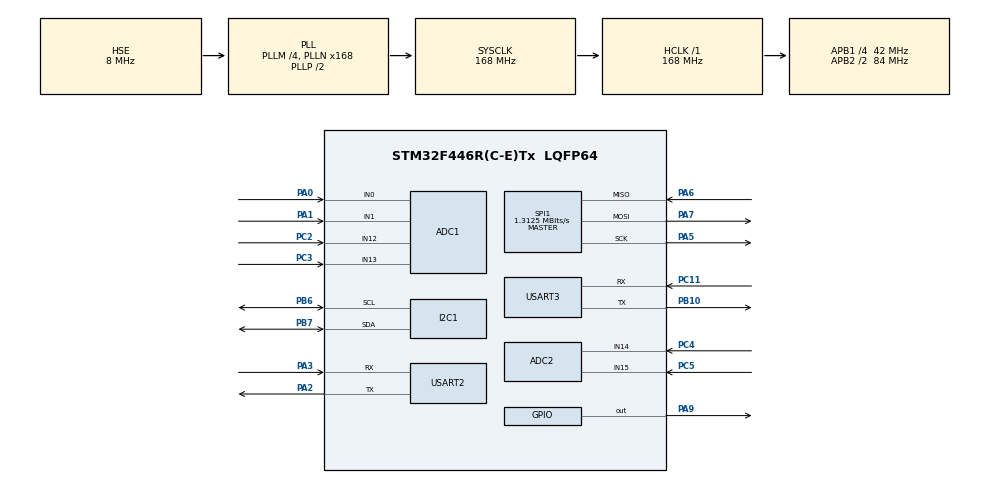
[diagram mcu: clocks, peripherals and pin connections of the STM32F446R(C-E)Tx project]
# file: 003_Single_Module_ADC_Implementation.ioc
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Mcu.Family=STM32F4
NVIC.USART3_IRQn=true\:0\:0\:false\:false\:true\:true\:true
PA6.Mode=Full_Duplex_Master
PH0-OSC_IN.Signal=RCC_OSC_IN
RCC.CortexFreq_Value=168000000
FATFS._USE_LFN=1
SPI1.VirtualType=VM_MASTER
PB10.Mode=Asynchronous
ADC1.ContinuousConvMode=ENABLE
ADC2.SamplingTime-4\#ChannelRegularConversion=ADC_SAMPLETIME_144CYCLES
RCC.SYSCLKSource=RCC_SYSCLKSOURCE_PLLCLK
ProjectManager.StackSize=0x400
ADC2.DMAContinuousRequests=ENABLE
ADC1.Channel-3\#ChannelRegularConversion=ADC_CHANNEL_12
SPI1.Direction=SPI_DIRECTION_2LINES
RCC.HCLKFreq_Value=168000000
RCC.APB2TimFreq_Value=168000000
PB6.Signal=I2C1_SCL
Dma.ADC1.0.Direction=DMA_PERIPH_TO_MEMORY
ADC1.Channel-2\#ChannelRegularConversion=ADC_CHANNEL_1
PB6.Mode=I2C
SPI1.CalculateBaudRate=1.3125 MBits/s
PC3.Signal=ADCx_IN13
NVIC.DMA2_Stream0_IRQn=true\:0\:0\:false\:false\:true\:false\:true
Dma.ADC1.0.MemDataAlignment=DMA_MDATAALIGN_WORD
RCC.AHBFreq_Value=168000000
PH0-OSC_IN.Mode=HSE-External-Oscillator
ADC1.Channel-0\#ChannelRegularConversion=ADC_CHANNEL_VREFINT
RCC.HSE_VALUE=8000000
ADC1.ScanConvMode=ENABLE
SH.ADCx_IN15.0=ADC2_IN15,IN15
VP_ADC1_Vref_Input.Mode=IN-Vrefint
ADC1.SamplingTime-4\#ChannelRegularConversion=ADC_SAMPLETIME_144CYCLES
Dma.ADC2.1.Instance=DMA2_Stream2
ADC1.Rank-2\#ChannelRegularConversion=3
PC14-OSC32_IN.Mode=LSE-External-Oscillator
Dma.ADC1.0.PeriphInc=DMA_PINC_DISABLE
PB7.Signal=I2C1_SDA
Dma.ADC2.1.PeriphInc=DMA_PINC_DISABLE
SH.ADCx_IN0.0=ADC1_IN0,IN0
ADC1.SamplingTime-0\#ChannelRegularConversion=ADC_SAMPLETIME_144CYCLES
PH1-OSC_OUT.Mode=HSE-External-Oscillator
Mcu.Package=LQFP64
PA6.Signal=SPI1_MISO
SH.ADCx_IN14.0=ADC2_IN14,IN14
USART2.VirtualMode=VM_ASYNC
ADC2.Rank-4\#ChannelRegularConversion=1
PC11.Mode=Asynchronous
RCC.APB2CLKDivider=RCC_HCLK_DIV2
SH.ADCx_IN1.0=ADC1_IN1,IN1
NVIC.DMA2_Stream2_IRQn=true\:0\:0\:false\:false\:true\:false\:true
ADC2.NbrOfConversion=2
Dma.Request1=ADC2
RCC.APB1TimFreq_Value=84000000
Dma.ADC1.0.FIFOMode=DMA_FIFOMODE_DISABLE
PC5.Signal=ADCx_IN15
ADC2.Channel-5\#ChannelRegularConversion=ADC_CHANNEL_15
Dma.Request0=ADC1
SPI1.BaudRatePrescaler=SPI_BAUDRATEPRESCALER_64
Dma.ADC2.1.PeriphDataAlignment=DMA_PDATAALIGN_WORD
ADC1.Rank-4\#ChannelRegularConversion=5
ADC2.ScanConvMode=ENABLE
PA3.Signal=USART2_RX
PA5.Mode=Full_Duplex_Master
ADC2.ClockPrescaler=ADC_CLOCK_SYNC_PCLK_DIV4
RCC.PLLSourceVirtual=RCC_PLLSOURCE_HSE
PC15-OSC32_OUT.Mode=LSE-External-Oscillator
SH.ADCx_IN13.0=ADC1_IN13,IN13
Dma.ADC1.0.Instance=DMA2_Stream0
ADC1.Rank-0\#ChannelRegularConversion=1
PA7.Mode=Full_Duplex_Master
ADC1.Channel-4\#ChannelRegularConversion=ADC_CHANNEL_13
PC11.Signal=USART3_RX
PC2.Signal=ADCx_IN12
PC4.Signal=ADCx_IN14
RCC.APB1CLKDivider=RCC_HCLK_DIV4
PC14-OSC32_IN.Signal=RCC_OSC32_IN
ADC2.SamplingTime-5\#ChannelRegularConversion=ADC_SAMPLETIME_144CYCLES
NVIC.USART2_IRQn=true\:0\:0\:false\:false\:true\:true\:true
ADC1.SamplingTime-2\#ChannelRegularConversion=ADC_SAMPLETIME_144CYCLES
PA0-WKUP.Signal=ADCx_IN0
PA3.Mode=Asynchronous
Dma.ADC1.0.PeriphDataAlignment=DMA_PDATAALIGN_WORD
SH.ADCx_IN12.0=ADC1_IN12,IN12
ProjectManager.TargetToolchain=STM32CubeIDE
Dma.ADC1.0.Mode=DMA_CIRCULAR
Dma.ADC1.0.Priority=DMA_PRIORITY_VERY_HIGH
PA9.Signal=GPIO_Output
ADC1.Channel-1\#ChannelRegularConversion=ADC_CHANNEL_0
RCC.USBFreq_Value=168000000
Dma.ADC2.1.Mode=DMA_CIRCULAR
PC15-OSC32_OUT.Signal=RCC_OSC32_OUT
PA1.Signal=ADCx_IN1
VP_FATFS_VS_Generic.Mode=User_defined
PB10.Signal=USART3_TX
PA5.Signal=SPI1_SCK
Dma.ADC2.1.FIFOMode=DMA_FIFOMODE_DISABLE
board=custom
RCC.VCOOutputFreq_Value=336000000
RCC.APB2Freq_Value=84000000
ADC2.Rank-5\#ChannelRegularConversion=2
SPI1.Mode=SPI_MODE_MASTER
PH1-OSC_OUT.Signal=RCC_OSC_OUT
ADC1.DMAContinuousRequests=ENABLE
Dma.ADC2.1.MemInc=DMA_MINC_ENABLE
ADC1.NbrOfConversion=5
Mcu.Name=STM32F446R(C-E)Tx
PA2.Signal=USART2_TX
FATFS._MAX_SS=4096
ADC1.SamplingTime-1\#ChannelRegularConversion=ADC_SAMPLETIME_144CYCLES
RCC.SYSCLKFreq_VALUE=168000000
Dma.ADC2.1.Direction=DMA_PERIPH_TO_MEMORY
ADC1.master=1
ADC1.Rank-3\#ChannelRegularConversion=4
ADC1.SamplingTime-3\#ChannelRegularConversion=ADC_SAMPLETIME_144CYCLES
ADC2.NbrOfConversionFlag=1
USART3.VirtualMode=VM_ASYNC
ADC1.Rank-1\#ChannelRegularConversion=2
PB7.Mode=I2C
Dma.ADC1.0.MemInc=DMA_MINC_ENABLE
ProjectManager.HeapSize=0x200
NVIC.PriorityGroup=NVIC_PRIORITYGROUP_4
ADC1.NbrOfConversionFlag=1
Dma.ADC2.1.MemDataAlignment=DMA_MDATAALIGN_WORD
RCC.PLLM=4
RCC.PLLN=168
PA2.Mode=Asynchronous
Dma.ADC2.1.Priority=DMA_PRIORITY_VERY_HIGH
RCC.APB1Freq_Value=42000000
ADC2.Channel-4\#ChannelRegularConversion=ADC_CHANNEL_14
ADC1.ClockPrescaler=ADC_CLOCK_SYNC_PCLK_DIV4
PA7.Signal=SPI1_MOSI

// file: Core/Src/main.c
/* USER CODE BEGIN Header */
/**
  ******************************************************************************
  * @file           : main.c
  * @brief          : Main program body
  ******************************************************************************
  * @attention
  *
  * <h2><center>&copy; Copyright (c) 2021 STMicroelectronics.
  * All rights reserved.</center></h2>
  *
  * This software component is licensed by ST under BSD 3-Clause license,
  * the "License"; You may not use this file except in compliance with the
  * License. You may obtain a copy of the License at:
  *                        opensource.org/licenses/BSD-3-Clause
  *
  ******************************************************************************
  */
/* USER CODE END Header */
#include "main.h"
#include "fatfs.h"

/* USER CODE BEGIN Includes */
#include <math.h>
#include <stdlib.h>
#include <i2c-lcd.h>

#include "fatfs_sd.h"
#include "string.h"
#include <stdio.h>

#include "esp8266.h"
/* USER CODE END Includes */

/* USER CODE BEGIN PD */

#define VREFIN_CAL ((uint16_t*)((uint32_t)0x1FFF7A2A))

// defines for temperature calculation
#define resolution  4095.0
#define res_10k		10000.0
#define constant_A	0.0012946375
#define constant_B	0.00020579695
#define constant_C	0.00000020476501

// defines for SoC calculation
#define hundred_percent 100.0
#define batt_nominal 1.5	// nominal battery capacity in Ah
#define time_interval 10.0	// time interval in milisecond
#define delta_time	time_interval/3600000.0	// time interval in hour

/* USER CODE END PD */

ADC_HandleTypeDef hadc1;
ADC_HandleTypeDef hadc2;
DMA_HandleTypeDef hdma_adc1;
DMA_HandleTypeDef hdma_adc2;

I2C_HandleTypeDef hi2c1;

SPI_HandleTypeDef hspi1;

UART_HandleTypeDef huart2;
UART_HandleTypeDef huart3;

/* USER CODE BEGIN PV */

uint32_t adc1_digital_value[6];
/*
 *		adc1_digital_value[0] : Vrefin digital value
 *		adc1_digital_value[1] : Cell 1 digital value	(PA0)
 *		adc1_digital_value[2] : Cell 2 digital value	(PA1)
 *		adc1_digital_value[3] : Cell 3 digital value	(PC2)
 *		adc1_digital_value[4] : NTC digital value       (PC3)
 */
uint32_t adc2_digital_value[2];
/*
 * 		adc2_digital_value[0] : ACS digital value 	  (PC4)
 * 		adc2_digital_value[1] : Vsupply digital value (PC5)
 */

float vdda;				// Reference voltage
float vsupply;			// Supply voltage
float cell_voltages[3];	/*	cell_voltages [0] : Cell 1 Voltage
							cell_voltages [1] : Cell 2 Voltage
							cell_voltages [2] : Cell 3 Voltage
						*/
float acs_output_voltage;
float acs_output_sum = 0;
float acs_output_ave;
float acs_current_value;

float current_integration;
float current_percentage;
float initial_soc;
float soc;

float esp_data_buffer[5];

double resistance;
double steinhart;
double temperature;     // Temperature value as a celsius

int first_run = 1;
int count = 0;

FATFS fs;	//Dosya Sistemi
FIL file;	//Dosya
FRESULT fresult;
char buffer[1024];
char data[200];

UINT br,bw;

FATFS *pfs;
DWORD fre_clust;
uint32_t total, free_space;

/* USER CODE END PV */

void SystemClock_Config(void);
static void MX_GPIO_Init(void);
static void MX_DMA_Init(void);
static void MX_ADC1_Init(void);
static void MX_ADC2_Init(void);
static void MX_I2C1_Init(void);
static void MX_SPI1_Init(void);
static void MX_USART2_UART_Init(void);
static void MX_USART3_UART_Init(void);
/* USER CODE BEGIN PFP */

void read_cell_voltages();
double read_temperature(int);
void read_current();

/* USER CODE END PFP */

/* USER CODE BEGIN 0 */

void read_cell_voltages(){

	for( int i = 1; i < 4; i++){		// Channel voltage values

		cell_voltages[count] = (float) 5.0 * adc1_digital_value[i] / 4095;
		count++;

		if(count == 3)	// Reset counter to recount 0,1,2
			count = 0;
		}
}

double read_temperature(int ntc_digital_value){

	// NTC resistance calculation
	resistance = resolution / ntc_digital_value;
	resistance -= 1.0;
	resistance = res_10k / resistance;

	// Steinhart-Hart equation
	steinhart = (constant_A) + (constant_B * log(resistance)) + (constant_C * log(resistance) * log(resistance) * log(resistance));
	steinhart = 1 / steinhart;
	steinhart -= 273.15;	// Convert Kelvin to Celsius

	return steinhart;
}

void read_current(){

	vsupply = vdda * adc2_digital_value[1] / 4095;

	for ( int x = 0; x < 500; x++){
	acs_output_voltage = vdda * adc2_digital_value[0] / 4095;
	acs_output_sum += acs_output_voltage;
	}
	acs_output_ave = acs_output_sum / 500.0;

	acs_current_value = (acs_output_ave - (vsupply / 2)) / 0.066;

	/*if(acs_current_value < 0)
		acs_current_value = 0;
*/
	acs_output_sum = 0;

}

void calculate_soc(){

	current_integration = ( acs_current_value * delta_time / batt_nominal );
	current_percentage = current_integration * 100.0;

	initial_soc = hundred_percent - current_percentage;	// inital soc calculation
}

int buffersize(char *buf)
{
	int i=0;
	while(*buf++ != '\0')
		i++;

	return i;
}

void bufferclear(void)
{
	for(int i = 0; i < 1024; i++)
		buffer[i] = '\0';
}

void create_txt_document(){

	  fresult = f_mount(&fs, "", 0);
	  f_getfree("", &fre_clust, &pfs);
	  total = (uint32_t)((pfs->n_fatent -2) * pfs->csize * 0.5 );
	  free_space = (uint32_t)(fre_clust * pfs->csize * 0.5);
	  fresult = f_open(&file, "1.txt", FA_CREATE_NEW | FA_READ | FA_WRITE);
	  sprintf(data, "Cell1	Cell2	Cell3	T	SoC\n");
	  f_puts(data, &file);
	  fresult = f_close(&file);
}

void write_data_to_sd_card(){

	  fresult = f_open(&file, "1.txt", FA_OPEN_APPEND | FA_READ | FA_WRITE);
	  sprintf(data, "%.3f	%.3f	%.3f	%.1f	%.3f\n",
			  cell_voltages[0], cell_voltages[1], cell_voltages[2], temperature, soc);
	  f_puts(data, &file);
	  fresult = f_close(&file);

}
/* USER CODE END 0 */

int main(void)
{

  /* MCU Configuration--------------------------------------------------------*/

  /* Reset of all peripherals, Initializes the Flash interface and the Systick. */
  HAL_Init();

  /* Configure the system clock */
  SystemClock_Config();

  /* Initialize all configured peripherals */
  MX_GPIO_Init();
  MX_DMA_Init();
  MX_ADC1_Init();
  MX_ADC2_Init();
  MX_I2C1_Init();
  MX_SPI1_Init();
  MX_FATFS_Init();
  MX_USART2_UART_Init();
  MX_USART3_UART_Init();
  /* USER CODE BEGIN 2 */

  HAL_ADC_Start_DMA(&hadc1, adc1_digital_value, 5);
  HAL_ADC_Start_DMA(&hadc2, adc2_digital_value, 2);
  lcd_init();

  __HAL_UART_ENABLE_IT(pc_uart,UART_IT_RXNE);
  __HAL_UART_ENABLE_IT(wifi_uart,UART_IT_RXNE);

  ESP8266_Init("AKYUZ", "portakal54");

  create_txt_document();

  /* USER CODE END 2 */

  /* Infinite loop */
  while (1)
  {

    /* USER CODE BEGIN 3 */

	  vdda = (float) 3.3 * (*VREFIN_CAL) / adc1_digital_value[0];		// Vref voltage value
	  read_cell_voltages();
	  temperature = read_temperature(adc1_digital_value[4]);
	  read_current();
	  calculate_soc();

	  if(first_run){
		  soc = initial_soc;
		  first_run = !first_run;
	  }
	  else
		  soc = soc - current_percentage;

	  esp_data_buffer[0] = cell_voltages[0];
	  esp_data_buffer[1] = cell_voltages[1];
	  esp_data_buffer[2] = cell_voltages[2];
	  esp_data_buffer[3] = temperature;
	  esp_data_buffer[4] = soc;

	  ESP_Send_Server_Multi("97WNS6R7B6C1CN3T", 5, esp_data_buffer);

	  write_data_to_sd_card();

  }
  /* USER CODE END 3 */
}

void SystemClock_Config(void)
{
  RCC_OscInitTypeDef RCC_OscInitStruct = {0};
  RCC_ClkInitTypeDef RCC_ClkInitStruct = {0};

  /** Configure the main internal regulator output voltage
  */
  __HAL_RCC_PWR_CLK_ENABLE();
  __HAL_PWR_VOLTAGESCALING_CONFIG(PWR_REGULATOR_VOLTAGE_SCALE1);
  /** Initializes the RCC Oscillators according to the specified parameters
  * in the RCC_OscInitTypeDef structure.
  */
  RCC_OscInitStruct.OscillatorType = RCC_OSCILLATORTYPE_HSE;
  RCC_OscInitStruct.HSEState = RCC_HSE_ON;
  RCC_OscInitStruct.PLL.PLLState = RCC_PLL_ON;
  RCC_OscInitStruct.PLL.PLLSource = RCC_PLLSOURCE_HSE;
  RCC_OscInitStruct.PLL.PLLM = 4;
  RCC_OscInitStruct.PLL.PLLN = 168;
  RCC_OscInitStruct.PLL.PLLP = RCC_PLLP_DIV2;
  RCC_OscInitStruct.PLL.PLLQ = 2;
  RCC_OscInitStruct.PLL.PLLR = 2;
  if (HAL_RCC_OscConfig(&RCC_OscInitStruct) != HAL_OK)
  {
    Error_Handler();
  }
  /** Initializes the CPU, AHB and APB buses clocks
  */
  RCC_ClkInitStruct.ClockType = RCC_CLOCKTYPE_HCLK|RCC_CLOCKTYPE_SYSCLK
                              |RCC_CLOCKTYPE_PCLK1|RCC_CLOCKTYPE_PCLK2;
  RCC_ClkInitStruct.SYSCLKSource = RCC_SYSCLKSOURCE_PLLCLK;
  RCC_ClkInitStruct.AHBCLKDivider = RCC_SYSCLK_DIV1;
  RCC_ClkInitStruct.APB1CLKDivider = RCC_HCLK_DIV4;
  RCC_ClkInitStruct.APB2CLKDivider = RCC_HCLK_DIV2;

  if (HAL_RCC_ClockConfig(&RCC_ClkInitStruct, FLASH_LATENCY_5) != HAL_OK)
  {
    Error_Handler();
  }
}

static void MX_ADC1_Init(void)
{

  ADC_ChannelConfTypeDef sConfig = {0};

  /** Configure the global features of the ADC (Clock, Resolution, Data Alignment and number of conversion)
  */
  hadc1.Instance = ADC1;
  hadc1.Init.ClockPrescaler = ADC_CLOCK_SYNC_PCLK_DIV4;
  hadc1.Init.Resolution = ADC_RESOLUTION_12B;
  hadc1.Init.ScanConvMode = ENABLE;
  hadc1.Init.ContinuousConvMode = ENABLE;
  hadc1.Init.DiscontinuousConvMode = DISABLE;
  hadc1.Init.ExternalTrigConvEdge = ADC_EXTERNALTRIGCONVEDGE_NONE;
  hadc1.Init.ExternalTrigConv = ADC_SOFTWARE_START;
  hadc1.Init.DataAlign = ADC_DATAALIGN_RIGHT;
  hadc1.Init.NbrOfConversion = 5;
  hadc1.Init.DMAContinuousRequests = ENABLE;
  hadc1.Init.EOCSelection = ADC_EOC_SINGLE_CONV;
  if (HAL_ADC_Init(&hadc1) != HAL_OK)
  {
    Error_Handler();
  }
  /** Configure for the selected ADC regular channel its corresponding rank in the sequencer and its sample time.
  */
  sConfig.Channel = ADC_CHANNEL_VREFINT;
  sConfig.Rank = 1;
  sConfig.SamplingTime = ADC_SAMPLETIME_144CYCLES;
  if (HAL_ADC_ConfigChannel(&hadc1, &sConfig) != HAL_OK)
  {
    Error_Handler();
  }
  /** Configure for the selected ADC regular channel its corresponding rank in the sequencer and its sample time.
  */
  sConfig.Channel = ADC_CHANNEL_0;
  sConfig.Rank = 2;
  if (HAL_ADC_ConfigChannel(&hadc1, &sConfig) != HAL_OK)
  {
    Error_Handler();
  }
  /** Configure for the selected ADC regular channel its corresponding rank in the sequencer and its sample time.
  */
  sConfig.Channel = ADC_CHANNEL_1;
  sConfig.Rank = 3;
  if (HAL_ADC_ConfigChannel(&hadc1, &sConfig) != HAL_OK)
  {
    Error_Handler();
  }
  /** Configure for the selected ADC regular channel its corresponding rank in the sequencer and its sample time.
  */
  sConfig.Channel = ADC_CHANNEL_12;
  sConfig.Rank = 4;
  if (HAL_ADC_ConfigChannel(&hadc1, &sConfig) != HAL_OK)
  {
    Error_Handler();
  }
  /** Configure for the selected ADC regular channel its corresponding rank in the sequencer and its sample time.
  */
  sConfig.Channel = ADC_CHANNEL_13;
  sConfig.Rank = 5;
  if (HAL_ADC_ConfigChannel(&hadc1, &sConfig) != HAL_OK)
  {
    Error_Handler();
  }

}

static void MX_ADC2_Init(void)
{

  ADC_ChannelConfTypeDef sConfig = {0};

  /** Configure the global features of the ADC (Clock, Resolution, Data Alignment and number of conversion)
  */
  hadc2.Instance = ADC2;
  hadc2.Init.ClockPrescaler = ADC_CLOCK_SYNC_PCLK_DIV4;
  hadc2.Init.Resolution = ADC_RESOLUTION_12B;
  hadc2.Init.ScanConvMode = ENABLE;
  hadc2.Init.ContinuousConvMode = ENABLE;
  hadc2.Init.DiscontinuousConvMode = DISABLE;
  hadc2.Init.ExternalTrigConvEdge = ADC_EXTERNALTRIGCONVEDGE_NONE;
  hadc2.Init.ExternalTrigConv = ADC_SOFTWARE_START;
  hadc2.Init.DataAlign = ADC_DATAALIGN_RIGHT;
  hadc2.Init.NbrOfConversion = 2;
  hadc2.Init.DMAContinuousRequests = ENABLE;
  hadc2.Init.EOCSelection = ADC_EOC_SINGLE_CONV;
  if (HAL_ADC_Init(&hadc2) != HAL_OK)
  {
    Error_Handler();
  }
  /** Configure for the selected ADC regular channel its corresponding rank in the sequencer and its sample time.
  */
  sConfig.Channel = ADC_CHANNEL_14;
  sConfig.Rank = 1;
  sConfig.SamplingTime = ADC_SAMPLETIME_144CYCLES;
  if (HAL_ADC_ConfigChannel(&hadc2, &sConfig) != HAL_OK)
  {
    Error_Handler();
  }
  /** Configure for the selected ADC regular channel its corresponding rank in the sequencer and its sample time.
  */
  sConfig.Channel = ADC_CHANNEL_15;
  sConfig.Rank = 2;
  if (HAL_ADC_ConfigChannel(&hadc2, &sConfig) != HAL_OK)
  {
    Error_Handler();
  }

}

static void MX_I2C1_Init(void)
{

  hi2c1.Instance = I2C1;
  hi2c1.Init.ClockSpeed = 100000;
  hi2c1.Init.DutyCycle = I2C_DUTYCYCLE_2;
  hi2c1.Init.OwnAddress1 = 0;
  hi2c1.Init.AddressingMode = I2C_ADDRESSINGMODE_7BIT;
  hi2c1.Init.DualAddressMode = I2C_DUALADDRESS_DISABLE;
  hi2c1.Init.OwnAddress2 = 0;
  hi2c1.Init.GeneralCallMode = I2C_GENERALCALL_DISABLE;
  hi2c1.Init.NoStretchMode = I2C_NOSTRETCH_DISABLE;
  if (HAL_I2C_Init(&hi2c1) != HAL_OK)
  {
    Error_Handler();
  }

}

static void MX_SPI1_Init(void)
{

  /* SPI1 parameter configuration*/
  hspi1.Instance = SPI1;
  hspi1.Init.Mode = SPI_MODE_MASTER;
  hspi1.Init.Direction = SPI_DIRECTION_2LINES;
  hspi1.Init.DataSize = SPI_DATASIZE_8BIT;
  hspi1.Init.CLKPolarity = SPI_POLARITY_LOW;
  hspi1.Init.CLKPhase = SPI_PHASE_1EDGE;
  hspi1.Init.NSS = SPI_NSS_SOFT;
  hspi1.Init.BaudRatePrescaler = SPI_BAUDRATEPRESCALER_64;
  hspi1.Init.FirstBit = SPI_FIRSTBIT_MSB;
  hspi1.Init.TIMode = SPI_TIMODE_DISABLE;
  hspi1.Init.CRCCalculation = SPI_CRCCALCULATION_DISABLE;
  hspi1.Init.CRCPolynomial = 10;
  if (HAL_SPI_Init(&hspi1) != HAL_OK)
  {
    Error_Handler();
  }

}

static void MX_USART2_UART_Init(void)
{

  huart2.Instance = USART2;
  huart2.Init.BaudRate = 115200;
  huart2.Init.WordLength = UART_WORDLENGTH_8B;
  huart2.Init.StopBits = UART_STOPBITS_1;
  huart2.Init.Parity = UART_PARITY_NONE;
  huart2.Init.Mode = UART_MODE_TX_RX;
  huart2.Init.HwFlowCtl = UART_HWCONTROL_NONE;
  huart2.Init.OverSampling = UART_OVERSAMPLING_16;
  if (HAL_UART_Init(&huart2) != HAL_OK)
  {
    Error_Handler();
  }

}

static void MX_USART3_UART_Init(void)
{

  huart3.Instance = USART3;
  huart3.Init.BaudRate = 115200;
  huart3.Init.WordLength = UART_WORDLENGTH_8B;
  huart3.Init.StopBits = UART_STOPBITS_1;
  huart3.Init.Parity = UART_PARITY_NONE;
  huart3.Init.Mode = UART_MODE_TX_RX;
  huart3.Init.HwFlowCtl = UART_HWCONTROL_NONE;
  huart3.Init.OverSampling = UART_OVERSAMPLING_16;
  if (HAL_UART_Init(&huart3) != HAL_OK)
  {
    Error_Handler();
  }

}

static void MX_DMA_Init(void)
{

  /* DMA controller clock enable */
  __HAL_RCC_DMA2_CLK_ENABLE();

  /* DMA interrupt init */
  /* DMA2_Stream0_IRQn interrupt configuration */
  HAL_NVIC_SetPriority(DMA2_Stream0_IRQn, 0, 0);
  HAL_NVIC_EnableIRQ(DMA2_Stream0_IRQn);
  /* DMA2_Stream2_IRQn interrupt configuration */
  HAL_NVIC_SetPriority(DMA2_Stream2_IRQn, 0, 0);
  HAL_NVIC_EnableIRQ(DMA2_Stream2_IRQn);

}

static void MX_GPIO_Init(void)
{
  GPIO_InitTypeDef GPIO_InitStruct = {0};

  /* GPIO Ports Clock Enable */
  __HAL_RCC_GPIOC_CLK_ENABLE();
  __HAL_RCC_GPIOH_CLK_ENABLE();
  __HAL_RCC_GPIOA_CLK_ENABLE();
  __HAL_RCC_GPIOB_CLK_ENABLE();

  /*Configure GPIO pin Output Level */
  HAL_GPIO_WritePin(GPIOA, GPIO_PIN_9, GPIO_PIN_RESET);

  /*Configure GPIO pin : PA9 */
  GPIO_InitStruct.Pin = GPIO_PIN_9;
  GPIO_InitStruct.Mode = GPIO_MODE_OUTPUT_PP;
  GPIO_InitStruct.Pull = GPIO_NOPULL;
  GPIO_InitStruct.Speed = GPIO_SPEED_FREQ_LOW;
  HAL_GPIO_Init(GPIOA, &GPIO_InitStruct);

}

void Error_Handler(void)
{
  __disable_irq();
  while (1)
  {
  }
}

/************************ (C) COPYRIGHT STMicroelectronics *****END OF FILE****/
